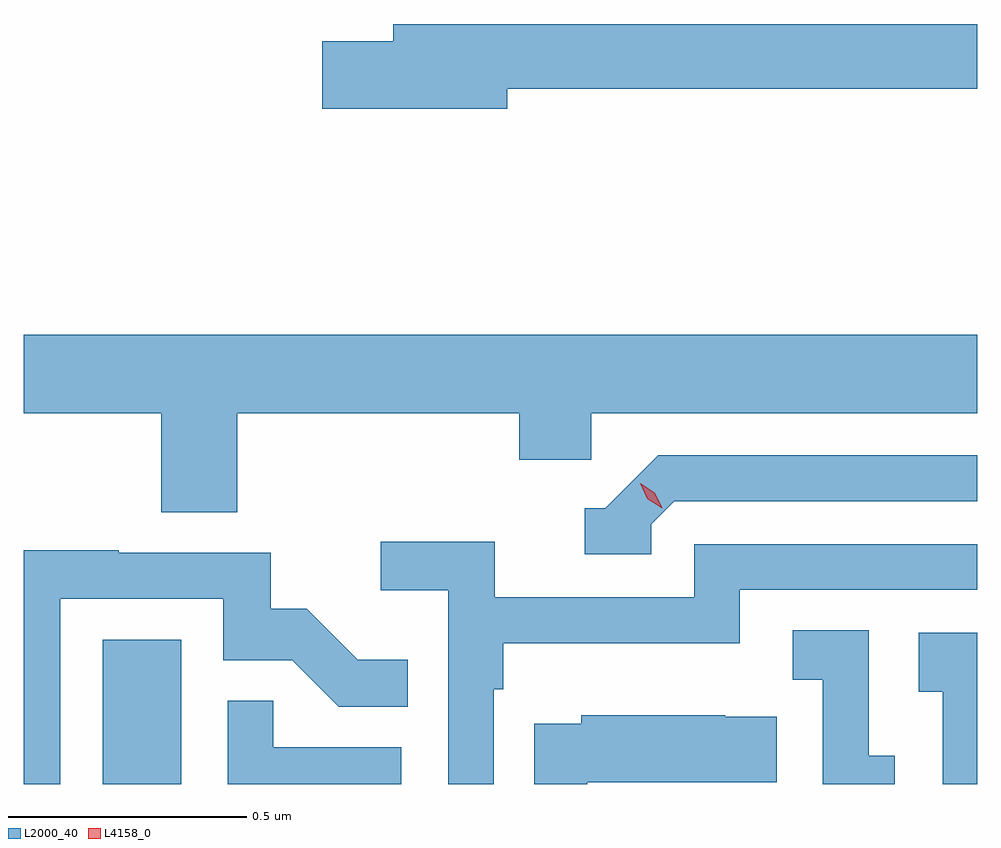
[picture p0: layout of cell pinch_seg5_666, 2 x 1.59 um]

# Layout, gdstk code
import gdstk
lib = gdstk.Library(unit=1e-6, precision=1e-09)
def R(c, l, rs):  # rectangles x0, y0, x1, y1
    for r in rs: c.add(gdstk.rectangle(r[:2], r[2:], *l))
def P(c, l, *ps):  # polygons
    for p in ps: c.add(gdstk.Polygon(p, *l))
L2000_40 = (2000, 40)
L4158_0 = (4158, 0)

pinch_seg5_666 = lib.new_cell('pinch_seg5_666')
R(pinch_seg5_666, L2000_40, [(1065.53,851.986,1065.694,852.289)])
P(pinch_seg5_666, L2000_40, [(1066.378,853.444),(1067.364,853.444),(1067.364,853.58),(1066.139,853.58),(1066.139,853.544),(1065.99,853.544),(1065.99,853.402),(1066.378,853.402)],
  [(1065.812,852.764),(1066.403,852.764),(1066.403,852.666),(1066.554,852.666),(1066.554,852.764),(1067.364,852.764),(1067.364,852.928),(1065.364,852.928),(1065.364,852.764),(1065.652,852.764),(1065.652,852.556),(1065.812,852.556)],
  [(1066.68,852.531),(1066.728,852.579),(1067.364,852.579),(1067.364,852.675),(1066.695,852.675),(1066.584,852.564),(1066.541,852.564),(1066.541,852.468),(1066.68,852.468)],
  [(1066.35,852.185),(1066.37,852.185),(1066.37,852.281),(1066.866,852.281),(1066.866,852.393),(1067.364,852.393),(1067.364,852.489),(1066.77,852.489),(1066.77,852.378),(1066.352,852.378),(1066.352,852.494),(1066.113,852.494),(1066.113,852.392),(1066.254,852.392),(1066.254,851.986),(1066.35,851.986)],
  [(1065.441,852.375),(1065.783,852.375),(1065.783,852.246),(1065.927,852.246),(1066.025,852.148),(1066.169,852.148),(1066.169,852.247),(1066.065,852.247),(1065.958,852.354),(1065.882,852.354),(1065.882,852.471),(1065.563,852.471),(1065.563,852.476),(1065.364,852.476),(1065.364,851.986),(1065.441,851.986)],
  [(1067.191,852.045),(1067.136,852.045),(1067.136,852.308),(1066.977,852.308),(1066.977,852.205),(1067.04,852.205),(1067.04,851.986),(1067.191,851.986)],
  [(1067.364,852.303),(1067.241,852.303),(1067.241,852.179),(1067.292,852.179),(1067.292,851.986),(1067.364,851.986)],
  [(1066.156,852.063),(1065.887,852.063),(1065.887,852.161),(1065.792,852.161),(1065.792,851.986),(1066.156,851.986)],
  [(1066.546,851.99),(1066.943,851.99),(1066.943,852.127),(1066.835,852.127),(1066.835,852.13),(1066.533,852.13),(1066.533,852.112),(1066.435,852.112),(1066.435,851.986),(1066.546,851.986)])
P(pinch_seg5_666, L4158_0, [(1066.703,852.564),(1066.672,852.584),(1066.657,852.617),(1066.657,852.617),(1066.657,852.617),(1066.687,852.597),(1066.703,852.565),(1066.703,852.564)])

lib.write_gds('pinch_seg5_666.gds')
